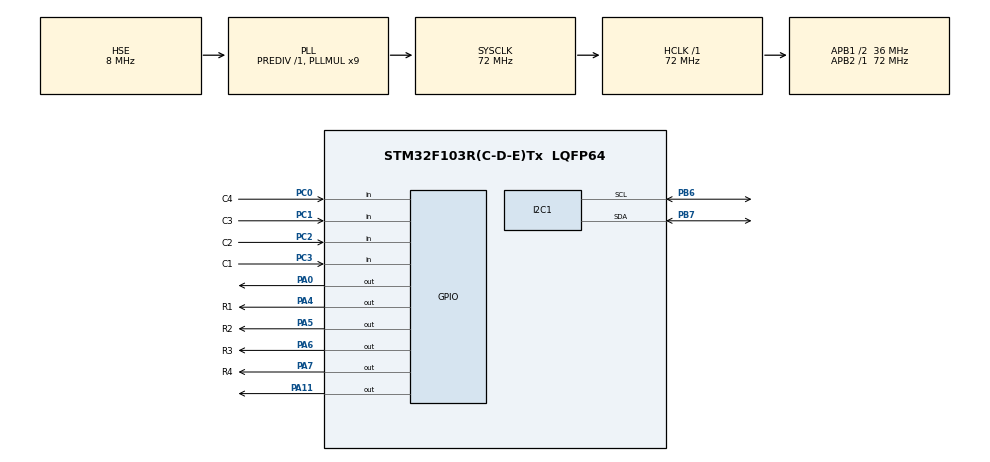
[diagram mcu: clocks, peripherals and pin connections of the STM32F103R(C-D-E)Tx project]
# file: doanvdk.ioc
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I2C1.I2C_Mode=I2C_Fast
Mcu.Family=STM32F1
Mcu.Name=STM32F103R(C-D-E)Tx
Mcu.Package=LQFP64
NVIC.PriorityGroup=NVIC_PRIORITYGROUP_4
NVIC.TIM1_UP_IRQn=true\:0\:0\:false\:false\:true\:true\:true\:true
PA0-WKUP.GPIO_PuPd=GPIO_NOPULL
PA0-WKUP.Signal=GPIO_Output
PA11.Signal=GPIO_Output
PA13.Mode=Serial_Wire
PA13.Signal=SYS_JTMS-SWDIO
PA14.Mode=Serial_Wire
PA14.Signal=SYS_JTCK-SWCLK
PA4.GPIO_Label=R1
PA4.PinState=GPIO_PIN_SET
PA4.Signal=GPIO_Output
PA5.GPIO_Label=R2
PA5.PinState=GPIO_PIN_SET
PA5.Signal=GPIO_Output
PA6.GPIO_Label=R3
PA6.PinState=GPIO_PIN_SET
PA6.Signal=GPIO_Output
PA7.GPIO_Label=R4
PA7.PinState=GPIO_PIN_SET
PA7.Signal=GPIO_Output
PB6.Mode=I2C
PB6.Signal=I2C1_SCL
PB7.Mode=I2C
PB7.Signal=I2C1_SDA
PC0.GPIO_Label=C4
PC0.GPIO_PuPd=GPIO_PULLUP
PC0.Signal=GPIO_Input
PC1.GPIO_Label=C3
PC1.GPIO_PuPd=GPIO_PULLUP
PC1.Signal=GPIO_Input
PC14-OSC32_IN.Mode=LSE-External-Oscillator
PC14-OSC32_IN.Signal=RCC_OSC32_IN
PC15-OSC32_OUT.Mode=LSE-External-Oscillator
PC15-OSC32_OUT.Signal=RCC_OSC32_OUT
PC2.GPIO_Label=C2
PC2.GPIO_PuPd=GPIO_PULLUP
PC2.Signal=GPIO_Input
PC3.GPIO_Label=C1
PC3.GPIO_PuPd=GPIO_PULLUP
PC3.Signal=GPIO_Input
PD0-OSC_IN.Mode=HSE-External-Oscillator
PD0-OSC_IN.Signal=RCC_OSC_IN
PD1-OSC_OUT.Mode=HSE-External-Oscillator
PD1-OSC_OUT.Signal=RCC_OSC_OUT
ProjectManager.HeapSize=0x200
ProjectManager.StackSize=0x400
ProjectManager.TargetToolchain=STM32CubeIDE
RCC.AHBFreq_Value=72000000
RCC.APB1CLKDivider=RCC_HCLK_DIV2
RCC.APB1Freq_Value=36000000
RCC.APB1TimFreq_Value=72000000
RCC.APB2Freq_Value=72000000
RCC.APB2TimFreq_Value=72000000
RCC.HCLKFreq_Value=72000000
RCC.PLLMUL=RCC_PLL_MUL9
RCC.PLLSourceVirtual=RCC_PLLSOURCE_HSE
RCC.SYSCLKFreq_VALUE=72000000
RCC.SYSCLKSource=RCC_SYSCLKSOURCE_PLLCLK
RCC.USBFreq_Value=72000000
TIM1.Period=10000-1
TIM1.Prescaler=7200-1
TIM2.Period=65535
TIM2.Prescaler=71
VP_TIM1_VS_ClockSourceINT.Mode=Internal
VP_TIM2_VS_ClockSourceINT.Mode=Internal
board=custom

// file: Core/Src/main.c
/* USER CODE BEGIN Header */
/**
 ******************************************************************************
 * @file           : main.c
 * @brief          : Main program body
 ******************************************************************************
 * @attention
 *
 * Copyright (c) 2025 STMicroelectronics.
 * All rights reserved.
 *
 * This software is licensed under terms that can be found in the LICENSE file
 * in the root directory of this software component.
 * If no LICENSE file comes with this software, it is provided AS-IS.
 *
 ******************************************************************************
 */
/* USER CODE END Header */
#include "main.h"

/* USER CODE BEGIN Includes */
#include "stdio.h"
#include "i2c-lcd.h"
#include "string.h"
#include "stdlib.h"

#include "keyboardMatrix_def.h"
#include "keyboardMatrix.h"

/* USER CODE END Includes */

/* USER CODE BEGIN PD */
#define DHT22_PORT GPIOA
#define DHT22_PIN GPIO_PIN_11

/* USER CODE END PD */

I2C_HandleTypeDef hi2c1;

TIM_HandleTypeDef htim1;
TIM_HandleTypeDef htim2;

/* USER CODE BEGIN PV */

uint8_t hum1, hum2, tempC1, tempC2, SUM, CHECK;
uint32_t pMillis, cMillis;
volatile float temp_Celsius = 0;
float temp_Fahrenheit = 0;
float Humidity = 0;
uint8_t hum_integral, hum_decimal, tempC_integral, tempC_decimal,
		tempF_integral, tempF_decimal;
float temp_C = 0;
char string[32];

volatile uint32_t seconds = 0;

uint8_t incubationDay = 0;
char buffer[32];
uint8_t current_menu = 0; // 0: temp_high, 1: temp_low, 2: incupationDay
volatile char key;

static uint8_t buzzer_active = 0;
float temp_high = 38.0;
float temp_low = 23.5;

/* USER CODE END PV */

void SystemClock_Config(void);
static void MX_GPIO_Init(void);
static void MX_TIM1_Init(void);
static void MX_I2C1_Init(void);
static void MX_TIM2_Init(void);

/* USER CODE BEGIN 0 */

void HAL_TIM_PeriodElapsedCallback(TIM_HandleTypeDef *htim) {
	if (htim->Instance == TIM1) {
		// Xử lý cho TIM2
		seconds++;
		if (seconds >= 86400) {
			incubationDay++;
			seconds = 0;
		}
	}
}

void microDelay(uint16_t delay) {
	__HAL_TIM_SET_COUNTER(&htim2, 0);
	while (__HAL_TIM_GET_COUNTER(&htim2) < delay);
}

uint8_t DHT22_Start(void) {
	uint8_t Response = 0;
	GPIO_InitTypeDef GPIO_InitStructPrivate = { 0 };
	GPIO_InitStructPrivate.Pin = DHT22_PIN;
	GPIO_InitStructPrivate.Mode = GPIO_MODE_OUTPUT_PP;
	GPIO_InitStructPrivate.Speed = GPIO_SPEED_FREQ_LOW;
	GPIO_InitStructPrivate.Pull = GPIO_NOPULL;
	HAL_GPIO_Init(DHT22_PORT, &GPIO_InitStructPrivate);
	HAL_GPIO_WritePin(DHT22_PORT, DHT22_PIN, 0);
	microDelay(1300);
	HAL_GPIO_WritePin(DHT22_PORT, DHT22_PIN, 1);
	microDelay(30);
	GPIO_InitStructPrivate.Mode = GPIO_MODE_INPUT;
	GPIO_InitStructPrivate.Pull = GPIO_PULLUP;
	HAL_GPIO_Init(DHT22_PORT, &GPIO_InitStructPrivate);
	microDelay(40);
	if (!(HAL_GPIO_ReadPin(DHT22_PORT, DHT22_PIN))) {
		microDelay(80);
		if ((HAL_GPIO_ReadPin(DHT22_PORT, DHT22_PIN)))
			Response = 1;
	}
	pMillis = HAL_GetTick();
	cMillis = HAL_GetTick();
	while ((HAL_GPIO_ReadPin(DHT22_PORT, DHT22_PIN)) && pMillis + 2 > cMillis) {
		cMillis = HAL_GetTick();
	}
	return Response;
}
uint8_t DHT22_Read(void) {
	uint8_t x, y;
	for (x = 0; x < 8; x++) {
		pMillis = HAL_GetTick();
		cMillis = HAL_GetTick();
		while (!(HAL_GPIO_ReadPin(DHT22_PORT, DHT22_PIN))
				&& pMillis + 2 > cMillis) {
			cMillis = HAL_GetTick();
		}
		microDelay(40);
		if (!(HAL_GPIO_ReadPin(DHT22_PORT, DHT22_PIN)))   // if the pin is low
			y &= ~(1 << (7 - x));
		else
			y |= (1 << (7 - x));
		pMillis = HAL_GetTick();
		cMillis = HAL_GetTick();
		while ((HAL_GPIO_ReadPin(DHT22_PORT, DHT22_PIN))
				&& pMillis + 2 > cMillis) {  // wait for the pin to go low
			cMillis = HAL_GetTick();
		}
	}
	return y;
}

void Display_Menu() {
	lcd_clear();
	switch (current_menu) {
	case 0:
		lcd_put_cur(0, 0);
		sprintf(buffer, "%.2f C", temp_high);
		lcd_send_string(buffer);
		break;
	case 1:
		lcd_put_cur(0, 0);
		sprintf(buffer, "%.2f C", temp_low);
		lcd_send_string(buffer);
		break;
	case 2:
		lcd_put_cur(0, 0);
		sprintf(buffer, "%d ", incubationDay);
		lcd_send_string(buffer);
		break;
	}
}

void Menu_Mode() {
	Display_Menu();
	uint8_t exit_menu = 0;
	while (!exit_menu) {
		key = getKeyPressed();
		if (key != '\0') {

			switch (key) {
			case '*':
				lcd_clear();
				lcd_put_cur(0, 0);
				lcd_send_string("Da luu cai dat!");
				HAL_Delay(1000);
				lcd_clear();
				exit_menu = 1;
				break;

			case '4': // Lên menu
				current_menu = (current_menu + 2) % 3;
				break;
			case '6': // Xuống menu
				current_menu = (current_menu + 1) % 3;
				break;
			case '2': // Tăng
				if (current_menu == 0 && temp_high < 40.0f)
					temp_high += 0.1f;
				else if (current_menu == 1 && temp_low < 38.0f)
					temp_low += 0.1f;
				else if (current_menu == 2 && incubationDay < 32)
					incubationDay += 1;
				break;
			case '8': // Giảm
				if (current_menu == 0 && temp_high > 37.0f)
					temp_high -= 0.1f;
				else if (current_menu == 1 && temp_low > 20.0f)
					temp_low -= 0.1f;
				else if (current_menu == 2 && incubationDay > 0)
					incubationDay -= 1;
				break;
			}
			Display_Menu();
			HAL_Delay(200); // chống dội phím
		}
	}
}
void Read_DHT22_Update_LCD(void) {
	if (DHT22_Start()) {
		hum1 = DHT22_Read();
		hum2 = DHT22_Read();
		tempC1 = DHT22_Read();
		tempC2 = DHT22_Read();
		SUM = DHT22_Read();
		CHECK = hum1 + hum2 + tempC1 + tempC2;
		if (CHECK == SUM) {
			//nếu bit MSB của tempC1 = 1 thì nhiệt độ âm
			if (tempC1 > 127) {
				temp_Celsius = (float) tempC2 / 10 * (-1);
			} else {
				temp_Celsius = (float) ((tempC1 << 8) | tempC2) / 10;
			}
			//nhiệt độ đơn vị Fahrenheit
			temp_Fahrenheit = temp_Celsius * 9 / 5 + 32;
			Humidity = (float) ((hum1 << 8) | hum2) / 10; //độ ẩm

			if (temp_Celsius < 0) {
				tempC_integral = temp_Celsius * (-1);
				tempC_decimal = temp_Celsius * (-10) - tempC_integral * 10;
				sprintf(string, "-%d.%d C   ", tempC_integral, tempC_decimal);
			} else {
				tempC_integral = temp_Celsius;
				tempC_decimal = temp_Celsius * 10 - tempC_integral * 10;
				sprintf(string, "%d.%d C   ", tempC_integral, tempC_decimal);
			}
			//Hiển thị nhiệt độ dưới dạng độ C
			lcd_put_cur(1, 0);
			lcd_send_string(string);
			temp_C = tempC_integral + (tempC_decimal / 10.0f);

			//Hiển thị độ ẩm %
			lcd_put_cur(0, 0);
			hum_integral = Humidity;
			hum_decimal = Humidity * 10 - hum_integral * 10;
			sprintf(string, "%d.%d %%  ", hum_integral, hum_decimal);
			lcd_send_string(string);

			//Hiển thị nhiệt độ dưới dạng độ F
			if (temp_Fahrenheit < 0) {
				tempF_integral = temp_Fahrenheit * (-1);
				tempF_decimal = temp_Fahrenheit * (-10) - tempF_integral * 10;
				sprintf(string, "-%d.%d F   ", tempF_integral, tempF_decimal);
			} else {
				tempF_integral = temp_Fahrenheit;
				tempF_decimal = temp_Fahrenheit * 10 - tempF_integral * 10;
				sprintf(string, "%d.%d F   ", tempF_integral, tempF_decimal);
			}
			lcd_put_cur(0, 8);
			lcd_send_string(string);

		}
	}
}
//			}

/* USER CODE END 0 */

int main(void)
{

  /* MCU Configuration--------------------------------------------------------*/

  /* Reset of all peripherals, Initializes the Flash interface and the Systick. */
  HAL_Init();

  /* Configure the system clock */
  SystemClock_Config();

  /* Initialize all configured peripherals */
  MX_GPIO_Init();
  MX_TIM1_Init();
  MX_I2C1_Init();
  MX_TIM2_Init();
  /* USER CODE BEGIN 2 */

	HAL_TIM_Base_Start_IT(&htim1); //ngắt counter ở timer 2 để đếm thời gian
	HAL_TIM_Base_Start(&htim2); //counter để tạo hàm microDelay
	lcd_init();
	HAL_Delay(500);
	lcd_clear();
	lcd_put_cur(0,0);
	lcd_send_string("Bat dau ap trung");
	HAL_Delay(2000);
	lcd_clear();
	keyboardInit();

  /* USER CODE END 2 */

  /* Infinite loop */
	while (1) {

    /* USER CODE BEGIN 3 */
	Read_DHT22_Update_LCD();
	//Khi nhiệt độ vượt quá ngưỡng đã cho thì còi buzzer sẽ kêu
		if (temp_C >= temp_high || temp_C <= temp_low) {
			if (!buzzer_active) {
				buzzer_active = 1;
				HAL_GPIO_WritePin(GPIOA, GPIO_PIN_0, GPIO_PIN_RESET);
			}
		} else {
			if (buzzer_active) {
				buzzer_active = 0;
				HAL_GPIO_WritePin(GPIOA, GPIO_PIN_0, GPIO_PIN_SET); // Tắt buzzer
			}
		}
	HAL_Delay(1000);
	key = getKeyPressed();
	if (key != '\0') {
		HAL_Delay(200);
		if (key == '#') {
			Menu_Mode();
		}
	}
	}
  /* USER CODE END 3 */
}

void SystemClock_Config(void)
{
  RCC_OscInitTypeDef RCC_OscInitStruct = {0};
  RCC_ClkInitTypeDef RCC_ClkInitStruct = {0};

  /** Initializes the RCC Oscillators according to the specified parameters
  * in the RCC_OscInitTypeDef structure.
  */
  RCC_OscInitStruct.OscillatorType = RCC_OSCILLATORTYPE_HSE;
  RCC_OscInitStruct.HSEState = RCC_HSE_ON;
  RCC_OscInitStruct.HSEPredivValue = RCC_HSE_PREDIV_DIV1;
  RCC_OscInitStruct.HSIState = RCC_HSI_ON;
  RCC_OscInitStruct.PLL.PLLState = RCC_PLL_ON;
  RCC_OscInitStruct.PLL.PLLSource = RCC_PLLSOURCE_HSE;
  RCC_OscInitStruct.PLL.PLLMUL = RCC_PLL_MUL9;
  if (HAL_RCC_OscConfig(&RCC_OscInitStruct) != HAL_OK)
  {
    Error_Handler();
  }

  /** Initializes the CPU, AHB and APB buses clocks
  */
  RCC_ClkInitStruct.ClockType = RCC_CLOCKTYPE_HCLK|RCC_CLOCKTYPE_SYSCLK
                              |RCC_CLOCKTYPE_PCLK1|RCC_CLOCKTYPE_PCLK2;
  RCC_ClkInitStruct.SYSCLKSource = RCC_SYSCLKSOURCE_PLLCLK;
  RCC_ClkInitStruct.AHBCLKDivider = RCC_SYSCLK_DIV1;
  RCC_ClkInitStruct.APB1CLKDivider = RCC_HCLK_DIV2;
  RCC_ClkInitStruct.APB2CLKDivider = RCC_HCLK_DIV1;

  if (HAL_RCC_ClockConfig(&RCC_ClkInitStruct, FLASH_LATENCY_2) != HAL_OK)
  {
    Error_Handler();
  }
}

static void MX_I2C1_Init(void)
{

  hi2c1.Instance = I2C1;
  hi2c1.Init.ClockSpeed = 400000;
  hi2c1.Init.DutyCycle = I2C_DUTYCYCLE_2;
  hi2c1.Init.OwnAddress1 = 0;
  hi2c1.Init.AddressingMode = I2C_ADDRESSINGMODE_7BIT;
  hi2c1.Init.DualAddressMode = I2C_DUALADDRESS_DISABLE;
  hi2c1.Init.OwnAddress2 = 0;
  hi2c1.Init.GeneralCallMode = I2C_GENERALCALL_DISABLE;
  hi2c1.Init.NoStretchMode = I2C_NOSTRETCH_DISABLE;
  if (HAL_I2C_Init(&hi2c1) != HAL_OK)
  {
    Error_Handler();
  }

}

static void MX_TIM1_Init(void)
{

  TIM_ClockConfigTypeDef sClockSourceConfig = {0};
  TIM_MasterConfigTypeDef sMasterConfig = {0};

  htim1.Instance = TIM1;
  htim1.Init.Prescaler = 7200-1;
  htim1.Init.CounterMode = TIM_COUNTERMODE_UP;
  htim1.Init.Period = 10000-1;
  htim1.Init.ClockDivision = TIM_CLOCKDIVISION_DIV1;
  htim1.Init.RepetitionCounter = 0;
  htim1.Init.AutoReloadPreload = TIM_AUTORELOAD_PRELOAD_DISABLE;
  if (HAL_TIM_Base_Init(&htim1) != HAL_OK)
  {
    Error_Handler();
  }
  sClockSourceConfig.ClockSource = TIM_CLOCKSOURCE_INTERNAL;
  if (HAL_TIM_ConfigClockSource(&htim1, &sClockSourceConfig) != HAL_OK)
  {
    Error_Handler();
  }
  sMasterConfig.MasterOutputTrigger = TIM_TRGO_RESET;
  sMasterConfig.MasterSlaveMode = TIM_MASTERSLAVEMODE_DISABLE;
  if (HAL_TIMEx_MasterConfigSynchronization(&htim1, &sMasterConfig) != HAL_OK)
  {
    Error_Handler();
  }

}

static void MX_TIM2_Init(void)
{

  TIM_ClockConfigTypeDef sClockSourceConfig = {0};
  TIM_MasterConfigTypeDef sMasterConfig = {0};

  htim2.Instance = TIM2;
  htim2.Init.Prescaler = 71;
  htim2.Init.CounterMode = TIM_COUNTERMODE_UP;
  htim2.Init.Period = 65535;
  htim2.Init.ClockDivision = TIM_CLOCKDIVISION_DIV1;
  htim2.Init.AutoReloadPreload = TIM_AUTORELOAD_PRELOAD_DISABLE;
  if (HAL_TIM_Base_Init(&htim2) != HAL_OK)
  {
    Error_Handler();
  }
  sClockSourceConfig.ClockSource = TIM_CLOCKSOURCE_INTERNAL;
  if (HAL_TIM_ConfigClockSource(&htim2, &sClockSourceConfig) != HAL_OK)
  {
    Error_Handler();
  }
  sMasterConfig.MasterOutputTrigger = TIM_TRGO_RESET;
  sMasterConfig.MasterSlaveMode = TIM_MASTERSLAVEMODE_DISABLE;
  if (HAL_TIMEx_MasterConfigSynchronization(&htim2, &sMasterConfig) != HAL_OK)
  {
    Error_Handler();
  }

}

static void MX_GPIO_Init(void)
{
  GPIO_InitTypeDef GPIO_InitStruct = {0};

  /* GPIO Ports Clock Enable */
  __HAL_RCC_GPIOC_CLK_ENABLE();
  __HAL_RCC_GPIOD_CLK_ENABLE();
  __HAL_RCC_GPIOA_CLK_ENABLE();
  __HAL_RCC_GPIOB_CLK_ENABLE();

  /*Configure GPIO pin Output Level */
  HAL_GPIO_WritePin(GPIOA, GPIO_PIN_0|GPIO_PIN_11, GPIO_PIN_RESET);

  /*Configure GPIO pin Output Level */
  HAL_GPIO_WritePin(GPIOA, R1_Pin|R2_Pin|R3_Pin|R4_Pin, GPIO_PIN_SET);

  /*Configure GPIO pins : C4_Pin C3_Pin C2_Pin C1_Pin */
  GPIO_InitStruct.Pin = C4_Pin|C3_Pin|C2_Pin|C1_Pin;
  GPIO_InitStruct.Mode = GPIO_MODE_INPUT;
  GPIO_InitStruct.Pull = GPIO_PULLUP;
  HAL_GPIO_Init(GPIOC, &GPIO_InitStruct);

  /*Configure GPIO pins : PA0 R1_Pin R2_Pin R3_Pin
                           R4_Pin PA11 */
  GPIO_InitStruct.Pin = GPIO_PIN_0|R1_Pin|R2_Pin|R3_Pin
                          |R4_Pin|GPIO_PIN_11;
  GPIO_InitStruct.Mode = GPIO_MODE_OUTPUT_PP;
  GPIO_InitStruct.Pull = GPIO_NOPULL;
  GPIO_InitStruct.Speed = GPIO_SPEED_FREQ_LOW;
  HAL_GPIO_Init(GPIOA, &GPIO_InitStruct);

}

void Error_Handler(void)
{
	__disable_irq();
	while (1) {
	}
}
